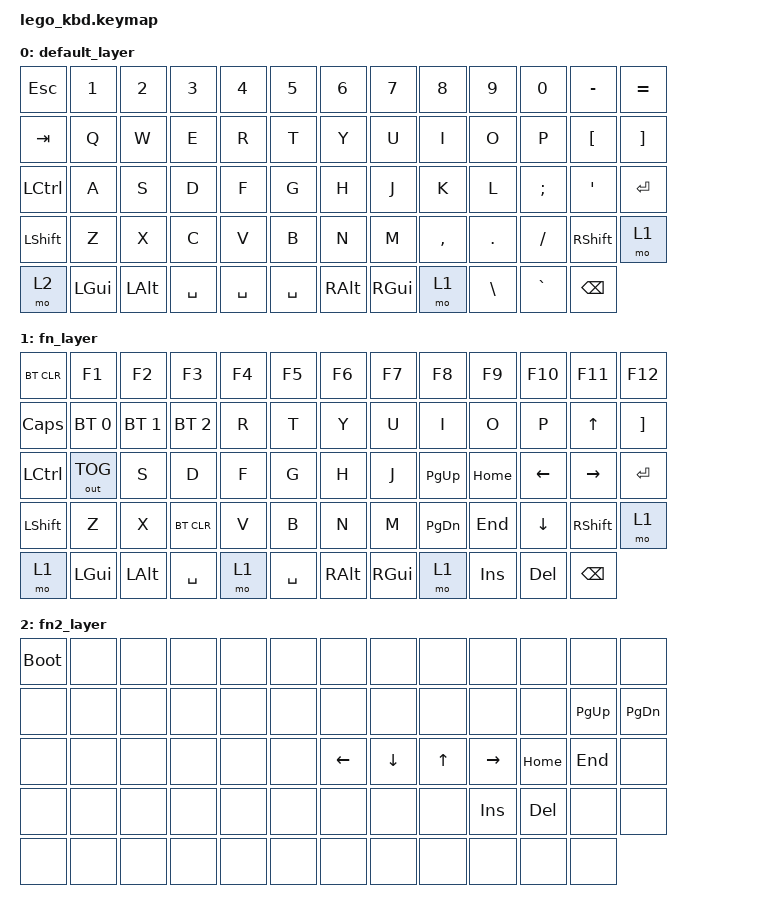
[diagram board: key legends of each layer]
#include <behaviors.dtsi>
#include <dt-bindings/zmk/keys.h>
#include <dt-bindings/zmk/bt.h>
#include <dt-bindings/zmk/outputs.h>

/ {
    keymap { 
        compatible = "zmk,keymap"; 

        default_layer { 
            bindings = < 
                &kp ESC     &kp N1      &kp N2      &kp N3      &kp N4  &kp N5      &kp N6      &kp N7      &kp N8      &kp N9      &kp N0      &kp MINUS   &kp EQUAL
                &kp TAB     &kp Q       &kp W       &kp E       &kp R   &kp T       &kp Y       &kp U       &kp I       &kp O       &kp P       &kp LBKT    &kp RBKT
                &kp LCTRL   &kp A       &kp S       &kp D       &kp F   &kp G       &kp H       &kp J       &kp K       &kp L       &kp SEMI    &kp SQT     &kp RET
                &kp LSHIFT  &kp Z       &kp X       &kp C       &kp V   &kp B       &kp N       &kp M       &kp COMMA   &kp DOT     &kp FSLH    &kp RSHIFT  &mo 1 
                &mo 2       &kp LGUI    &kp LALT    &kp SPACE   &kp SPACE   &kp SPACE   &kp RALT    &kp RGUI    &mo 1       &kp BSLH    &kp GRAVE   &kp BSPC
            >;
        };

        fn_layer {
            bindings = <
                &bt BT_CLR     &kp F1      &kp F2      &kp F3      &kp F4  &kp F5      &kp F6      &kp F7      &kp F8      &kp F9      &kp F10      &kp F11   &kp F12
                &kp CAPS     &bt BT_SEL 0       &bt BT_SEL 1       &bt BT_SEL 2       &kp R   &kp T       &kp Y       &kp U       &kp I       &kp O       &kp P       &kp UP_ARROW    &kp RBKT
                &kp LCTRL   &out OUT_TOG    &kp S    &kp D       &kp F   &kp G       &kp H       &kp J       &kp PG_UP       &kp HOME       &kp LEFT_ARROW    &kp RIGHT_ARROW     &kp RET
                &kp LSHIFT  &kp Z       &kp X       &bt BT_CLR       &kp V   &kp B       &kp N       &kp M       &kp PG_DN   &kp END     &kp DOWN_ARROW    &kp RSHIFT  &mo 1 
                &mo 1       &kp LGUI    &kp LALT    &kp SPACE   &mo 1   &kp SPACE   &kp RALT    &kp RGUI    &mo 1       &kp INS    &kp DEL   &kp BSPC
            >;
        };
        
        fn2_layer {
            bindings = <
                &bootloader &none &none &none &none &none &none &none &none &none &none &none &none 
                &none &none &none &none &none &none &none &none &none &none &none &kp PG_UP &kp PG_DN
                &none &none &none &none &none &none &kp LEFT_ARROW &kp DOWN_ARROW &kp UP_ARROW &kp RIGHT_ARROW &kp HOME &kp END &none 
                &none &none &none &none &none &none &none &none &none &kp INS &kp DEL &none &none 
                &none &none &none &none &none &none &none &none &none &none &none &none 
            >;  

        };


    };
};
